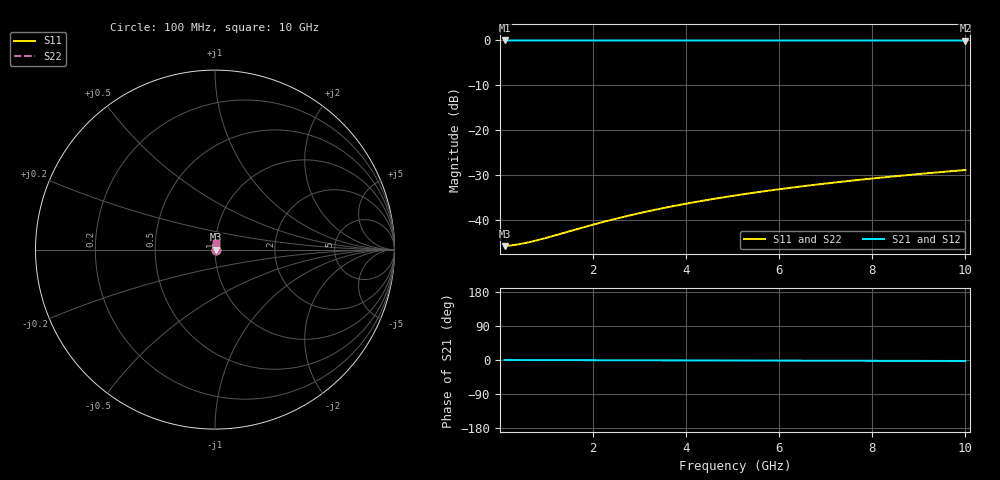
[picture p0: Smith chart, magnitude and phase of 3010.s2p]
# Hz S RI R 50.00
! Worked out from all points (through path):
!   100 points, 100 MHz to 10 GHz, reference 50 ohm
!   highest |S21| = -0.04 dB at 100 MHz (marker M1); lowest = -0.1 dB at 10 GHz (marker M2)
!   lowest |S11| = -45.7 dB at 100 MHz (marker M3), VSWR 1.01, Z = 50.5 + j0.0359 ohm
!   |S11| at or under -10 dB: start of sweep to end of sweep
!   |S22| runs from -45.7 to -28.8 dB; largest |S21 - S12| = 0
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1e8  0.00516 0.000355  0.9948 -0.000463  0.9948 -0.000463  0.00516 0.000355
3e8  0.00522 0.00107  0.9948 -0.00139  0.9948 -0.00139  0.00522 0.00107
4e8  0.00524 0.00142  0.9948 -0.00185  0.9948 -0.00185  0.00524 0.00142
5e8  0.00526 0.00178  0.9947 -0.00232  0.9947 -0.00232  0.00526 0.00178
7e8  0.00529 0.00249  0.9947 -0.00324  0.9947 -0.00324  0.00529 0.00249
1e9  0.00533 0.00355  0.9947 -0.00463  0.9947 -0.00463  0.00533 0.00355
1.8e9  0.00543 0.00639  0.9946 -0.00834  0.9946 -0.00834  0.00543 0.00639
2.2e9  0.00548 0.00781  0.9945 -0.0102  0.9945 -0.0102  0.00548 0.00781
2.6e9  0.00553 0.00923  0.9945 -0.012  0.9945 -0.012  0.00553 0.00923
3e9  0.00559 0.0106  0.9944 -0.0139  0.9944 -0.0139  0.00559 0.0106
3.4e9  0.00565 0.0121  0.9943 -0.0157  0.9943 -0.0157  0.00565 0.0121
3.8e9  0.00571 0.0135  0.9943 -0.0176  0.9943 -0.0176  0.00571 0.0135
4.2e9  0.00578 0.0149  0.9942 -0.0195  0.9942 -0.0195  0.00578 0.0149
4.6e9  0.00585 0.0163  0.9941 -0.0213  0.9941 -0.0213  0.00585 0.0163
5.1e9  0.00595 0.0181  0.994 -0.0236  0.994 -0.0236  0.00595 0.0181
5.5e9  0.00603 0.0195  0.9939 -0.0255  0.9939 -0.0255  0.00603 0.0195
5.9e9  0.00612 0.0209  0.9939 -0.0273  0.9939 -0.0273  0.00612 0.0209
6.7e9  0.0063 0.0238  0.9937 -0.031  0.9937 -0.031  0.0063 0.0238
7.5e9  0.00651 0.0266  0.9934 -0.0347  0.9934 -0.0347  0.00651 0.0266
8.4e9  0.00678 0.0298  0.9932 -0.0389  0.9932 -0.0389  0.00678 0.0298
9.2e9  0.00703 0.0326  0.9929 -0.0426  0.9929 -0.0426  0.00703 0.0326
1e10  0.00731 0.0355  0.9926 -0.0463  0.9926 -0.0463  0.00731 0.0355
